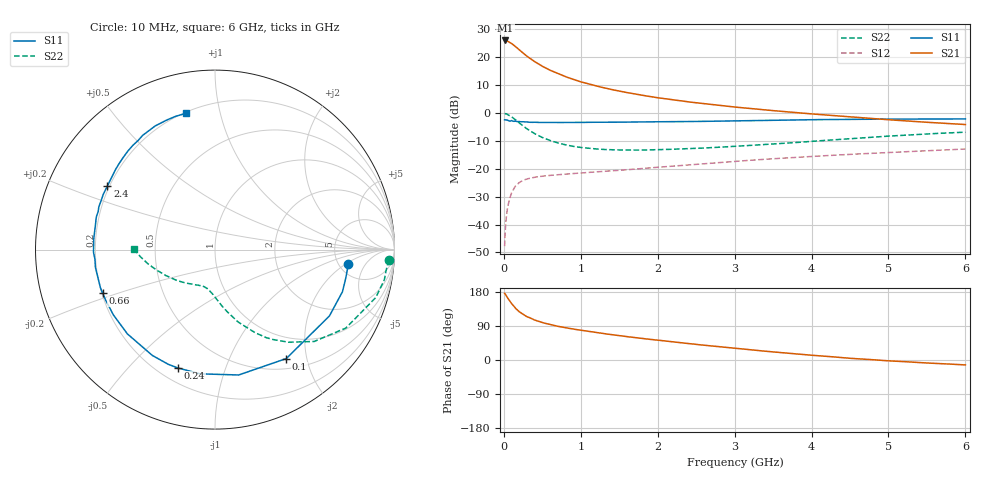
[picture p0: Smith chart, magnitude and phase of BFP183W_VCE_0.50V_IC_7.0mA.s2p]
! Infineon Technologies  Discrete & RF Semiconductors
! BFP183W
! VCE = 0.50V,  IC =  7.0 mA
! Common Emitter S-Parameters:  Jan 2016
# GHz  S  MA  R  50
!  f  S11  S21  S12  S22
! GHz  MAG  ANG  MAG  ANG  MAG  ANG  MAG  ANG
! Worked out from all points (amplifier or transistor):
!   210 points, 10 MHz to 6 GHz, reference 50 ohm
!   highest |S21| = 25.9 dB at 20 MHz (marker M1)
!   |S21| within 3 dB of that: start of sweep to 185.3 MHz
!   unconditionally stable (mu >= 1): 1.266 GHz to end of sweep
!   at 185 MHz: K = 0.20, MSG = 24.1 dB, |S12| = -25.4 dB
!   at 1.52 GHz: K = 1.12, MAG = 12.0 dB, |S12| = -20.5 dB
!   at 6 GHz: K = 1.20, MAG = 1.7 dB, |S12| = -13.0 dB
!   S11 on the Smith chart (normalised r, x): 10 MHz: 6.08, -2.23; 100 MHz: 0.65, -1.66; 240 MHz: 0.28, -0.70; 660 MHz: 0.20, -0.18; 2.4 GHz: 0.19, +0.26; 6 GHz: 0.21, +0.79
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0.01  0.7474 -6.2  19.66 176.0  0.0041 87.5  0.9696 -3.4
0.02  0.7457 -12.3  19.69 173.4  0.0085 85.6  0.9606 -6.8
0.03  0.7479 -18.3  19.62 170.1  0.0128 82.2  0.9583 -10.1
0.05  0.737 -30.1  19.16 163.4  0.0206 74.8  0.9348 -16.6
0.1  0.7254 -56.8  17.44 149.0  0.0368 62.6  0.8503 -30.9
0.15  0.7109 -79.3  15.38 136.7  0.0486 52.8  0.7533 -42.8
0.2  0.697 -96.7  13.4 127.4  0.0563 45.9  0.6585 -51.6
0.24  0.6912 -107.4  12.05 121.8  0.0608 41.5  0.5958 -57.2
0.3  0.6853 -120.6  10.29 114.3  0.0654 36.7  0.516 -64.1
0.4  0.6774 -136.1  8.231 105.4  0.0704 32.0  0.4233 -72.3
0.5  0.673 -147.3  6.809 98.6  0.0735 29.6  0.3613 -78.1
0.6  0.6712 -155.2  5.78 93.4  0.0758 28.0  0.3186 -82.7
0.66  0.6712 -159.0  5.335 90.9  0.077 27.9  0.3007 -84.8
0.8  0.6701 -166.6  4.431 85.1  0.0797 27.6  0.2668 -89.7
1.02  0.672 -176.0  3.521 77.9  0.0839 28.1  0.2379 -95.6
1.4  0.6777 172.0  2.607 67.0  0.0916 29.9  0.2187 -103.6
2.02  0.6901 157.2  1.843 51.9  0.1064 32.8  0.2184 -114.7
2.4  0.6967 149.4  1.566 43.3  0.117 33.5  0.2276 -121.8
3.1  0.7206 136.6  1.23 29.1  0.1381 33.3  0.2553 -134.7
4.1  0.7548 121.1  0.932 11.1  0.1683 30.4  0.3151 -153.7
5.1  0.7708 109.6  0.735 -3.2  0.1973 26.0  0.389 -169.5
6  0.776 102.1  0.616 -13.0  0.2246 21.8  0.4501 179.6
